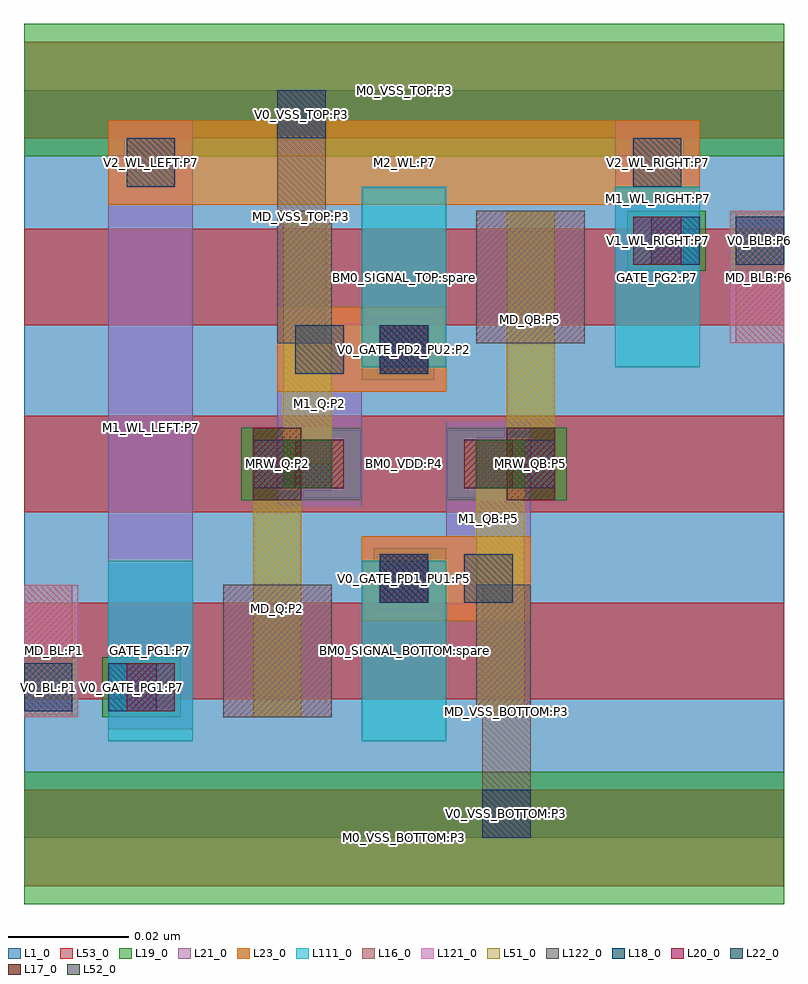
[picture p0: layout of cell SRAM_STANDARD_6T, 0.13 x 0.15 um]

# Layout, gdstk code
import gdstk
lib = gdstk.Library(unit=1e-6, precision=1e-09)
def R(c, l, rs):  # rectangles x0, y0, x1, y1
    for r in rs: c.add(gdstk.rectangle(r[:2], r[2:], *l))
def A(c, l, x, y, w, h, nx, ny, dx, dy):  # array of equal rectangles
    R(c, l, [(x+i*dx, y+j*dy, x+i*dx+w, y+j*dy+h) for i in range(nx) for j in range(ny)])
L1_0 = (1, 0)
L16_0 = (16, 0)
L17_0 = (17, 0)
L18_0 = (18, 0)
L19_0 = (19, 0)
L20_0 = (20, 0)
L21_0 = (21, 0)
L22_0 = (22, 0)
L23_0 = (23, 0)
L51_0 = (51, 0)
L52_0 = (52, 0)
L53_0 = (53, 0)
L111_0 = (111, 0)
L121_0 = (121, 0)
L122_0 = (122, 0)

sram_standard_6t = lib.new_cell('SRAM_STANDARD_6T')
R(sram_standard_6t, L1_0, [(0,0,0.126,0.124)])
R(sram_standard_6t, L16_0, [(0.076,0,0.084,0.042), (0,0.02,0.008,0.042), (0.038,0.02,0.046,0.056), (0.08,0.068,0.088,0.104), (0.042,0.082,0.05,0.124), (0.118,0.082,0.126,0.104)])
R(sram_standard_6t, L17_0, [(0.038,0.056,0.046,0.068), (0.08,0.056,0.088,0.068)])
R(sram_standard_6t, L18_0, [(0.076,0,0.084,0.008), (0,0.021,0.008,0.029), (0.014,0.021,0.022,0.029), (0.059,0.039,0.067,0.047), (0.038,0.058,0.046,0.066), (0.08,0.058,0.088,0.066), (0.059,0.077,0.067,0.085), (0.104,0.095,0.112,0.103), (0.118,0.095,0.126,0.103), (0.042,0.116,0.05,0.124)])
R(sram_standard_6t, L19_0, [(0,-0.011,0.126,0.011), (0,0.02,0.009,0.03), (0.013,0.02,0.026,0.03), (0.058,0.038,0.07,0.048), (0.036,0.056,0.056,0.068), (0.07,0.056,0.09,0.068), (0.056,0.076,0.068,0.086), (0.1,0.094,0.113,0.104), (0.117,0.094,0.126,0.104), (0,0.113,0.126,0.135)])
R(sram_standard_6t, L20_0, [(0.017,0.021,0.025,0.029), (0.059,0.039,0.067,0.047), (0.045,0.058,0.053,0.066), (0.073,0.058,0.081,0.066), (0.059,0.077,0.067,0.085), (0.101,0.095,0.109,0.103)])
R(sram_standard_6t, L21_0, [(0.014,0.018,0.028,0.119), (0.056,0.036,0.07,0.05), (0.07,0.036,0.084,0.069), (0.042,0.055,0.056,0.088), (0.056,0.074,0.07,0.088), (0.098,0.092,0.112,0.119)])
R(sram_standard_6t, L22_0, [(0.059,0.039,0.067,0.047), (0.073,0.039,0.081,0.047), (0.045,0.077,0.053,0.085), (0.059,0.077,0.067,0.085), (0.017,0.108,0.025,0.116), (0.101,0.108,0.109,0.116)])
R(sram_standard_6t, L23_0, [(0.056,0.036,0.084,0.05), (0.042,0.074,0.07,0.088), (0.014,0.105,0.112,0.119)])
R(sram_standard_6t, L51_0, [(0.038,0.02,0.046,0.056), (0.075,0.02,0.083,0.066), (0.043,0.062,0.051,0.104), (0.08,0.068,0.088,0.104)])
R(sram_standard_6t, L52_0, [(0.043,0.058,0.051,0.066), (0.075,0.058,0.083,0.066)])
A(sram_standard_6t, L53_0, 0, -0.008, 0.126, 0.016, 1, 5, 0, 0.031)
R(sram_standard_6t, L111_0, [(0.014,0.016,0.028,0.046), (0.056,0.016,0.07,0.046), (0.056,0.078,0.07,0.108), (0.098,0.078,0.112,0.108)])
R(sram_standard_6t, L121_0, [(0,0.02,0.009,0.042), (0.033,0.02,0.051,0.042), (0.075,0.02,0.084,0.042), (0.042,0.082,0.051,0.104), (0.075,0.082,0.093,0.104), (0.117,0.082,0.126,0.104)])
R(sram_standard_6t, L122_0, [(0.033,0.02,0.051,0.042), (0.075,0.02,0.084,0.042), (0.042,0.082,0.051,0.104), (0.075,0.082,0.093,0.104)])
sram_standard_6t.add(gdstk.Label('MD_BL:P1', (0.005,0.031), layer=16, texttype=0))
sram_standard_6t.add(gdstk.Label('MD_Q:P2', (0.042,0.038), layer=16, texttype=0))
sram_standard_6t.add(gdstk.Label('MD_VSS_BOTTOM:P3', (0.08,0.021), layer=16, texttype=0))
sram_standard_6t.add(gdstk.Label('MD_VSS_TOP:P3', (0.046,0.103), layer=16, texttype=0))
sram_standard_6t.add(gdstk.Label('MD_QB:P5', (0.084,0.086), layer=16, texttype=0))
sram_standard_6t.add(gdstk.Label('MD_BLB:P6', (0.122,0.093), layer=16, texttype=0))
sram_standard_6t.add(gdstk.Label('MRW_Q:P2', (0.042,0.062), layer=17, texttype=0))
sram_standard_6t.add(gdstk.Label('MRW_QB:P5', (0.084,0.062), layer=17, texttype=0))
sram_standard_6t.add(gdstk.Label('V0_BL:P1', (0.004,0.025), layer=18, texttype=0))
sram_standard_6t.add(gdstk.Label('V0_Q_MRW:P2', (0.042,0.062), layer=18, texttype=0))
sram_standard_6t.add(gdstk.Label('V0_VSS_BOTTOM:P3', (0.08,0.004), layer=18, texttype=0))
sram_standard_6t.add(gdstk.Label('V0_VSS_TOP:P3', (0.046,0.12), layer=18, texttype=0))
sram_standard_6t.add(gdstk.Label('V0_QB_MRW:P5', (0.084,0.062), layer=18, texttype=0))
sram_standard_6t.add(gdstk.Label('V0_BLB:P6', (0.122,0.099), layer=18, texttype=0))
sram_standard_6t.add(gdstk.Label('V0_GATE_PG1:P7', (0.018,0.025), layer=18, texttype=0))
sram_standard_6t.add(gdstk.Label('V0_GATE_PD1_PU1:P5', (0.063,0.043), layer=18, texttype=0))
sram_standard_6t.add(gdstk.Label('V0_GATE_PD2_PU2:P2', (0.063,0.081), layer=18, texttype=0))
sram_standard_6t.add(gdstk.Label('V0_GATE_PG2:P7', (0.108,0.099), layer=18, texttype=0))
sram_standard_6t.add(gdstk.Label('M0_VSS_BOTTOM:P3', (0.063,0), layer=19, texttype=0))
sram_standard_6t.add(gdstk.Label('M0_BL:P1', (0.004,0.025), layer=19, texttype=0))
sram_standard_6t.add(gdstk.Label('M0_GATE_QB:P5', (0.064,0.043), layer=19, texttype=0))
sram_standard_6t.add(gdstk.Label('M0_Q_CENTER:P2', (0.046,0.062), layer=19, texttype=0))
sram_standard_6t.add(gdstk.Label('M0_QB_CENTER:P5', (0.08,0.062), layer=19, texttype=0))
sram_standard_6t.add(gdstk.Label('M0_BLB:P6', (0.122,0.099), layer=19, texttype=0))
sram_standard_6t.add(gdstk.Label('M0_VSS_TOP:P3', (0.063,0.124), layer=19, texttype=0))
sram_standard_6t.add(gdstk.Label('M0_WL_LEFT_PAD:P7', (0.02,0.025), layer=19, texttype=0))
sram_standard_6t.add(gdstk.Label('M0_WL_RIGHT_PAD:P7', (0.107,0.099), layer=19, texttype=0))
sram_standard_6t.add(gdstk.Label('M0_GATE_Q_PAD:P2', (0.062,0.081), layer=19, texttype=0))
sram_standard_6t.add(gdstk.Label('V1_WL_LEFT:P7', (0.021,0.025), layer=20, texttype=0))
sram_standard_6t.add(gdstk.Label('V1_Q_MRW:P2', (0.049,0.062), layer=20, texttype=0))
sram_standard_6t.add(gdstk.Label('V1_QB_GATE:P5', (0.063,0.043), layer=20, texttype=0))
sram_standard_6t.add(gdstk.Label('V1_Q_GATE:P2', (0.063,0.081), layer=20, texttype=0))
sram_standard_6t.add(gdstk.Label('V1_QB_MRW:P5', (0.077,0.062), layer=20, texttype=0))
sram_standard_6t.add(gdstk.Label('V1_WL_RIGHT:P7', (0.105,0.099), layer=20, texttype=0))
sram_standard_6t.add(gdstk.Label('M1_WL_LEFT:P7', (0.021,0.068), layer=21, texttype=0))
sram_standard_6t.add(gdstk.Label('M1_Q:P2', (0.049,0.072), layer=21, texttype=0))
sram_standard_6t.add(gdstk.Label('M1_GATE_QB:P5', (0.063,0.043), layer=21, texttype=0))
sram_standard_6t.add(gdstk.Label('M1_GATE_Q:P2', (0.063,0.081), layer=21, texttype=0))
sram_standard_6t.add(gdstk.Label('M1_QB:P5', (0.077,0.053), layer=21, texttype=0))
sram_standard_6t.add(gdstk.Label('M1_WL_RIGHT:P7', (0.105,0.106), layer=21, texttype=0))
sram_standard_6t.add(gdstk.Label('V2_Q_LEFT:P2', (0.049,0.081), layer=22, texttype=0))
sram_standard_6t.add(gdstk.Label('V2_Q_RIGHT:P2', (0.063,0.081), layer=22, texttype=0))
sram_standard_6t.add(gdstk.Label('V2_QB_LEFT:P5', (0.063,0.043), layer=22, texttype=0))
sram_standard_6t.add(gdstk.Label('V2_QB_RIGHT:P5', (0.077,0.043), layer=22, texttype=0))
sram_standard_6t.add(gdstk.Label('V2_WL_LEFT:P7', (0.021,0.112), layer=22, texttype=0))
sram_standard_6t.add(gdstk.Label('V2_WL_RIGHT:P7', (0.105,0.112), layer=22, texttype=0))
sram_standard_6t.add(gdstk.Label('M2_Q:P2', (0.056,0.081), layer=23, texttype=0))
sram_standard_6t.add(gdstk.Label('M2_QB:P5', (0.07,0.043), layer=23, texttype=0))
sram_standard_6t.add(gdstk.Label('M2_WL:P7', (0.063,0.112), layer=23, texttype=0))
sram_standard_6t.add(gdstk.Label('BMD_Q:P2', (0.042,0.038), layer=51, texttype=0))
sram_standard_6t.add(gdstk.Label('BMD_VDD_BOTTOM:P4', (0.079,0.043), layer=51, texttype=0))
sram_standard_6t.add(gdstk.Label('BMD_VDD_TOP:P4', (0.047,0.083), layer=51, texttype=0))
sram_standard_6t.add(gdstk.Label('BMD_QB:P5', (0.084,0.086), layer=51, texttype=0))
sram_standard_6t.add(gdstk.Label('BV0_VDD_BOTTOM:P4', (0.079,0.062), layer=52, texttype=0))
sram_standard_6t.add(gdstk.Label('BV0_VDD_TOP:P4', (0.047,0.062), layer=52, texttype=0))
sram_standard_6t.add(gdstk.Label('BM0_BOUNDARY_BOTTOM:spare', (0.063,0), layer=53, texttype=0))
sram_standard_6t.add(gdstk.Label('BM0_SIGNAL_BOTTOM:spare', (0.063,0.031), layer=53, texttype=0))
sram_standard_6t.add(gdstk.Label('BM0_VDD:P4', (0.063,0.062), layer=53, texttype=0))
sram_standard_6t.add(gdstk.Label('BM0_SIGNAL_TOP:spare', (0.063,0.093), layer=53, texttype=0))
sram_standard_6t.add(gdstk.Label('BM0_BOUNDARY_TOP:spare', (0.063,0.124), layer=53, texttype=0))
sram_standard_6t.add(gdstk.Label('GATE_PG1:P7', (0.021,0.031), layer=111, texttype=0))
sram_standard_6t.add(gdstk.Label('GATE_PD1_PU1:P5', (0.063,0.031), layer=111, texttype=0))
sram_standard_6t.add(gdstk.Label('GATE_PD2_PU2:P2', (0.063,0.093), layer=111, texttype=0))
sram_standard_6t.add(gdstk.Label('GATE_PG2:P7', (0.105,0.093), layer=111, texttype=0))
sram_standard_6t.add(gdstk.Label('SDN_PG1_OUTER:P1', (0.004,0.031), layer=121, texttype=0))
sram_standard_6t.add(gdstk.Label('SDN_PG1_PD1_SHARED:P2', (0.042,0.031), layer=121, texttype=0))
sram_standard_6t.add(gdstk.Label('SDN_PD1_OUTER:P3', (0.08,0.031), layer=121, texttype=0))
sram_standard_6t.add(gdstk.Label('SDN_PD2_OUTER:P3', (0.046,0.093), layer=121, texttype=0))
sram_standard_6t.add(gdstk.Label('SDN_PD2_PG2_SHARED:P5', (0.084,0.093), layer=121, texttype=0))
sram_standard_6t.add(gdstk.Label('SDN_PG2_OUTER:P6', (0.122,0.093), layer=121, texttype=0))
sram_standard_6t.add(gdstk.Label('SDP_PU1_NODE:P2', (0.042,0.031), layer=122, texttype=0))
sram_standard_6t.add(gdstk.Label('SDP_PU1_POWER:P4', (0.08,0.031), layer=122, texttype=0))
sram_standard_6t.add(gdstk.Label('SDP_PU2_POWER:P4', (0.046,0.093), layer=122, texttype=0))
sram_standard_6t.add(gdstk.Label('SDP_PU2_NODE:P5', (0.084,0.093), layer=122, texttype=0))

lib.write_gds('SRAM_STANDARD_6T.gds')
